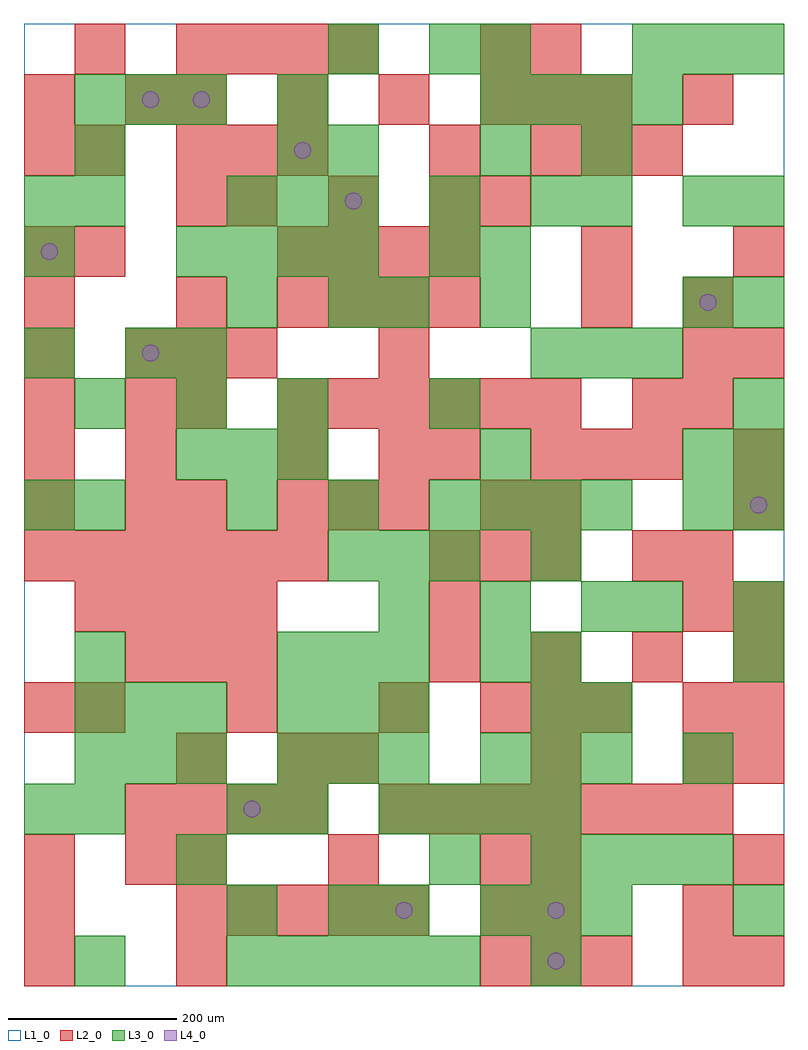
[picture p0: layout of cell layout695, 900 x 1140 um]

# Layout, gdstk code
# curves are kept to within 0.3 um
import gdstk
lib = gdstk.Library(unit=1e-6, precision=1e-09)
def R(c, l, rs):  # rectangles x0, y0, x1, y1
    for r in rs: c.add(gdstk.rectangle(r[:2], r[2:], *l))
def A(c, l, x, y, w, h, nx, ny, dx, dy):  # array of equal rectangles
    R(c, l, [(x+i*dx, y+j*dy, x+i*dx+w, y+j*dy+h) for i in range(nx) for j in range(ny)])
def P(c, l, *ps):  # polygons
    for p in ps: c.add(gdstk.Polygon(p, *l))
L1_0 = (1, 0)
L2_0 = (2, 0)
L3_0 = (3, 0)
L4_0 = (4, 0)

layout695 = lib.new_cell('layout695')
R(layout695, L1_0, [(0,0,900,1140)])
A(layout695, L2_0, 0, 0, 60, 60, 1, 3, 0, 60)
A(layout695, L2_0, 540, 0, 60, 60, 3, 2, 60, 300)
A(layout695, L2_0, 840, 0, 60, 60, 1, 3, 0, 120)
A(layout695, L2_0, 180, 60, 60, 60, 5, 1, 60, 0)
A(layout695, L2_0, 180, 120, 60, 60, 3, 1, 180, 0)
A(layout695, L2_0, 120, 180, 60, 60, 4, 1, 60, 0)
A(layout695, L2_0, 420, 180, 60, 60, 7, 1, 60, 0)
A(layout695, L2_0, 60, 300, 60, 60, 3, 1, 180, 0)
A(layout695, L2_0, 840, 300, 60, 60, 1, 3, 0, 120)
A(layout695, L2_0, 120, 360, 60, 60, 3, 2, 60, 360)
A(layout695, L2_0, 480, 360, 60, 60, 4, 1, 120, 0)
A(layout695, L2_0, 60, 420, 60, 60, 4, 1, 60, 0)
A(layout695, L2_0, 0, 480, 60, 60, 6, 1, 60, 0)
A(layout695, L2_0, 480, 480, 60, 60, 3, 1, 60, 0)
A(layout695, L2_0, 0, 540, 60, 60, 1, 6, 0, 60)
A(layout695, L2_0, 120, 540, 60, 60, 1, 3, 0, 60)
A(layout695, L2_0, 180, 540, 60, 60, 1, 4, 0, 120)
A(layout695, L2_0, 300, 540, 60, 60, 3, 1, 60, 0)
A(layout695, L2_0, 600, 600, 60, 60, 3, 2, 60, 360)
A(layout695, L2_0, 840, 600, 60, 60, 1, 3, 0, 120)
A(layout695, L2_0, 300, 660, 60, 60, 6, 1, 60, 0)
A(layout695, L2_0, 780, 660, 60, 60, 1, 3, 0, 60)
A(layout695, L2_0, 300, 780, 60, 60, 4, 2, 60, 60)
A(layout695, L2_0, 60, 840, 60, 60, 1, 3, 0, 120)
A(layout695, L2_0, 240, 900, 60, 60, 3, 1, 120, 0)
A(layout695, L2_0, 180, 960, 60, 60, 3, 1, 60, 0)
A(layout695, L2_0, 180, 1020, 60, 60, 4, 1, 120, 0)
A(layout695, L2_0, 180, 1080, 60, 60, 4, 1, 60, 0)
R(layout695, L2_0, [(180,0,240,60), (780,0,840,60), (540,60,600,120), (600,60,660,120), (780,60,840,120), (120,120,180,180), (600,120,660,180), (180,240,240,300), (300,240,360,300), (360,240,420,300), (600,240,660,300), (780,240,840,300), (0,300,60,360), (780,300,840,360), (480,420,540,480), (780,420,840,480), (720,480,780,540), (780,480,840,540), (540,540,600,600), (600,540,660,600), (300,600,360,660), (420,600,480,660), (480,600,540,660), (720,660,780,720), (420,720,480,780), (660,780,720,840), (660,840,720,900), (540,900,600,960), (0,960,60,1020), (480,960,540,1020), (0,1020,60,1080), (120,1020,180,1080), (600,1020,660,1080), (660,1020,720,1080), (780,1020,840,1080), (540,1080,600,1140), (600,1080,660,1140)])
A(layout695, L3_0, 60, 0, 60, 60, 1, 4, 0, 180)
A(layout695, L3_0, 240, 0, 60, 60, 5, 1, 60, 0)
A(layout695, L3_0, 540, 60, 60, 60, 3, 2, 60, 180)
A(layout695, L3_0, 600, 120, 60, 60, 4, 1, 60, 0)
A(layout695, L3_0, 420, 180, 60, 60, 4, 1, 60, 0)
A(layout695, L3_0, 60, 240, 60, 60, 3, 2, 60, 60)
A(layout695, L3_0, 300, 240, 60, 60, 3, 3, 60, 60)
A(layout695, L3_0, 420, 420, 60, 60, 3, 1, 120, 0)
A(layout695, L3_0, 360, 480, 60, 60, 3, 1, 60, 0)
A(layout695, L3_0, 240, 540, 60, 60, 3, 1, 120, 0)
A(layout695, L3_0, 540, 540, 60, 60, 3, 1, 60, 0)
A(layout695, L3_0, 840, 540, 60, 60, 1, 3, 0, 60)
A(layout695, L3_0, 180, 600, 60, 60, 3, 1, 60, 0)
A(layout695, L3_0, 60, 660, 60, 60, 3, 1, 120, 0)
A(layout695, L3_0, 600, 720, 60, 60, 3, 1, 60, 0)
A(layout695, L3_0, 180, 840, 60, 60, 4, 1, 60, 0)
A(layout695, L3_0, 540, 840, 60, 60, 1, 3, 0, 120)
A(layout695, L3_0, 240, 900, 60, 60, 3, 1, 60, 0)
A(layout695, L3_0, 60, 1020, 60, 60, 3, 1, 60, 0)
A(layout695, L3_0, 540, 1020, 60, 60, 4, 1, 60, 0)
A(layout695, L3_0, 720, 1080, 60, 60, 3, 1, 60, 0)
R(layout695, L3_0, [(600,0,660,60), (240,60,300,120), (360,60,420,120), (420,60,480,120), (840,60,900,120), (180,120,240,180), (480,120,540,180), (0,180,60,240), (240,180,300,240), (300,180,360,240), (780,240,840,300), (600,300,660,360), (660,300,720,360), (540,360,600,420), (600,360,660,420), (840,360,900,420), (720,420,780,480), (840,420,900,480), (600,480,660,540), (0,540,60,600), (780,540,840,600), (540,600,600,660), (780,600,840,660), (480,660,540,720), (0,720,60,780), (120,720,180,780), (180,720,240,780), (240,780,300,840), (360,780,420,840), (420,780,480,840), (540,780,600,840), (780,780,840,840), (840,780,900,840), (0,840,60,900), (480,840,540,900), (0,900,60,960), (60,900,120,960), (480,900,540,960), (600,900,660,960), (660,900,720,960), (780,900,840,960), (840,900,900,960), (60,960,120,1020), (300,960,360,1020), (360,960,420,1020), (660,960,720,1020), (300,1020,360,1080), (360,1080,420,1140), (480,1080,540,1140)])
P(layout695, L4_0, [(40,870),(39.239,873.827),(37.071,877.071),(33.827,879.239),(30,880),(26.173,879.239),(22.929,877.071),(20.761,873.827),(20,870),(20.761,866.173),(22.929,862.929),(26.173,860.761),(30,860),(33.827,860.761),(37.071,862.929),(39.239,866.173)],
  [(160,750),(159.239,753.827),(157.071,757.071),(153.827,759.239),(150,760),(146.173,759.239),(142.929,757.071),(140.761,753.827),(140,750),(140.761,746.173),(142.929,742.929),(146.173,740.761),(150,740),(153.827,740.761),(157.071,742.929),(159.239,746.173)],
  [(160,1050),(159.239,1053.827),(157.071,1057.071),(153.827,1059.239),(150,1060),(146.173,1059.239),(142.929,1057.071),(140.761,1053.827),(140,1050),(140.761,1046.173),(142.929,1042.929),(146.173,1040.761),(150,1040),(153.827,1040.761),(157.071,1042.929),(159.239,1046.173)],
  [(220,1050),(219.239,1053.827),(217.071,1057.071),(213.827,1059.239),(210,1060),(206.173,1059.239),(202.929,1057.071),(200.761,1053.827),(200,1050),(200.761,1046.173),(202.929,1042.929),(206.173,1040.761),(210,1040),(213.827,1040.761),(217.071,1042.929),(219.239,1046.173)],
  [(280,210),(279.239,213.827),(277.071,217.071),(273.827,219.239),(270,220),(266.173,219.239),(262.929,217.071),(260.761,213.827),(260,210),(260.761,206.173),(262.929,202.929),(266.173,200.761),(270,200),(273.827,200.761),(277.071,202.929),(279.239,206.173)],
  [(340,990),(339.239,993.827),(337.071,997.071),(333.827,999.239),(330,1000),(326.173,999.239),(322.929,997.071),(320.761,993.827),(320,990),(320.761,986.173),(322.929,982.929),(326.173,980.761),(330,980),(333.827,980.761),(337.071,982.929),(339.239,986.173)],
  [(400,930),(399.239,933.827),(397.071,937.071),(393.827,939.239),(390,940),(386.173,939.239),(382.929,937.071),(380.761,933.827),(380,930),(380.761,926.173),(382.929,922.929),(386.173,920.761),(390,920),(393.827,920.761),(397.071,922.929),(399.239,926.173)],
  [(460,90),(459.239,93.827),(457.071,97.071),(453.827,99.239),(450,100),(446.173,99.239),(442.929,97.071),(440.761,93.827),(440,90),(440.761,86.173),(442.929,82.929),(446.173,80.761),(450,80),(453.827,80.761),(457.071,82.929),(459.239,86.173)],
  [(640,30),(639.239,33.827),(637.071,37.071),(633.827,39.239),(630,40),(626.173,39.239),(622.929,37.071),(620.761,33.827),(620,30),(620.761,26.173),(622.929,22.929),(626.173,20.761),(630,20),(633.827,20.761),(637.071,22.929),(639.239,26.173)],
  [(640,90),(639.239,93.827),(637.071,97.071),(633.827,99.239),(630,100),(626.173,99.239),(622.929,97.071),(620.761,93.827),(620,90),(620.761,86.173),(622.929,82.929),(626.173,80.761),(630,80),(633.827,80.761),(637.071,82.929),(639.239,86.173)],
  [(820,810),(819.239,813.827),(817.071,817.071),(813.827,819.239),(810,820),(806.173,819.239),(802.929,817.071),(800.761,813.827),(800,810),(800.761,806.173),(802.929,802.929),(806.173,800.761),(810,800),(813.827,800.761),(817.071,802.929),(819.239,806.173)],
  [(880,570),(879.239,573.827),(877.071,577.071),(873.827,579.239),(870,580),(866.173,579.239),(862.929,577.071),(860.761,573.827),(860,570),(860.761,566.173),(862.929,562.929),(866.173,560.761),(870,560),(873.827,560.761),(877.071,562.929),(879.239,566.173)])

lib.write_gds('layout695.gds')
